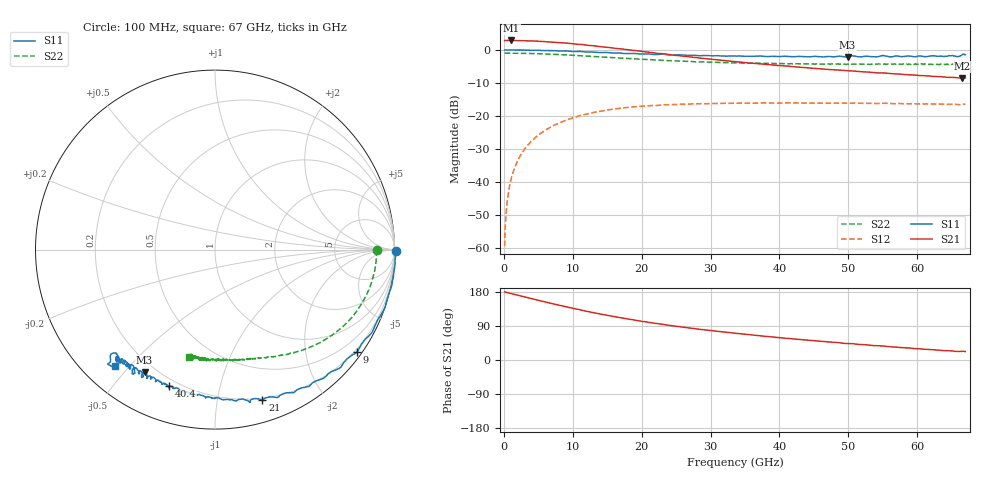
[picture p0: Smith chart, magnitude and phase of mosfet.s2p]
# Hz S dB R 50
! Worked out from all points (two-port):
!   670 points, 100 MHz to 67 GHz, reference 50 ohm
!   highest |S21| = 2.95 dB at 1.1 GHz (marker M1); lowest = -8.5 dB at 66.5 GHz (marker M2)
!   |S21| within 3 dB of the highest: start of sweep to 18.87 GHz
!   lowest |S11| = -2.1 dB at 49.9 GHz (marker M3), VSWR 8.40, Z = 7.9 - j28.4 ohm
!   |S11| at or under -10 dB: nowhere
!   |S22| runs from -4.4 to -0.9 dB; largest |S21 - S12| = 1.4
!   S11 on the Smith chart (normalised r, x): 100 MHz: open; 9 GHz: 0.14, -3.08; 21 GHz: 0.18, -1.35; 40.4 GHz: 0.16, -0.71; 67 GHz: 0.10, -0.46
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1e8  0.05 -0.3  2.93 179.7  -59.35 89.7  -0.90 -0.2
6e8  0.05 -2.4  2.95 177.4  -43.83 87.7  -0.91 -1.8
1.1e9  0.06 -4.5  2.95 175.1  -38.59 85.9  -0.92 -3.4
1.6e9  0.05 -6.6  2.93 172.8  -35.35 84.0  -0.93 -5.0
2.2e9  0.04 -9.1  2.91 170.0  -32.60 81.8  -0.94 -6.9
3.8e9  -0.02 -15.8  2.80 162.8  -27.98 76.0  -1.00 -11.9
6e9  -0.11 -24.8  2.57 153.1  -24.27 68.2  -1.15 -18.4
9e9  -0.23 -35.9  2.16 140.5  -21.19 58.1  -1.43 -27.0
1.13e10  -0.41 -44.1  1.73 131.3  -19.66 50.8  -1.70 -33.1
1.53e10  -0.79 -57.2  0.80 116.9  -18.01 39.4  -2.19 -42.3
2.1e10  -1.12 -72.5  -0.58 99.5  -16.80 26.1  -2.88 -53.4
2.24e10  -1.31 -76.6  -0.98 95.8  -16.71 23.5  -3.00 -55.6
2.81e10  -1.64 -88.3  -2.27 81.7  -16.19 13.6  -3.53 -64.2
3.36e10  -1.77 -98.0  -3.47 70.7  -16.05 6.2  -3.86 -71.1
4.04e10  -1.91 -108.6  -4.72 58.5  -16.00 -1.4  -4.07 -78.7
4.47e10  -1.93 -114.2  -5.45 51.5  -16.02 -5.9  -4.21 -83.5
4.99e10  -2.08 -119.9  -6.25 43.4  -16.06 -11.1  -4.18 -88.9
5.59e10  -1.96 -124.4  -7.00 35.1  -16.09 -16.5  -4.29 -93.7
6.5e10  -1.63 -131.6  -8.22 23.9  -16.37 -23.9  -4.32 -101.5
6.6e10  -1.93 -134.0  -8.40 22.4  -16.47 -25.0  -4.31 -102.4
6.65e10  -1.46 -133.5  -8.48 22.7  -16.47 -24.5  -4.28 -103.1
6.7e10  -1.37 -130.6  -8.40 22.2  -16.39 -24.8  -4.24 -103.7
